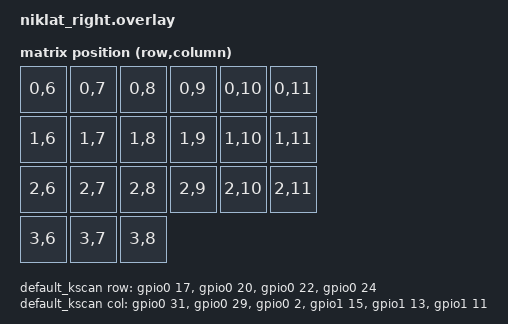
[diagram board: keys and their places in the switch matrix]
#include <dt-bindings/zmk/matrix_transform.h>
#include <zephyr/dt-bindings/gpio/gpio.h>

/ {
    chosen {
        zmk,kscan = &default_kscan;
        zmk,matrix_transform = &default_transform;
	zmk,display = &nice_view;
    };



    default_kscan: kscan {
        compatible = "zmk,kscan-gpio-matrix";
        label = "default_kscan";
        diode-direction = "col2row";

        row-gpios = <&gpio0 17 (GPIO_ACTIVE_HIGH | GPIO_PULL_DOWN)>,
                    <&gpio0 20 (GPIO_ACTIVE_HIGH | GPIO_PULL_DOWN)>,
                    <&gpio0 22 (GPIO_ACTIVE_HIGH | GPIO_PULL_DOWN)>,
                    <&gpio0 24 (GPIO_ACTIVE_HIGH | GPIO_PULL_DOWN)>;
    
        col-gpios = <&gpio0 31 GPIO_ACTIVE_HIGH>,
                    <&gpio0 29 GPIO_ACTIVE_HIGH>,
                    <&gpio0 2 GPIO_ACTIVE_HIGH>,
                    <&gpio1 15 GPIO_ACTIVE_HIGH>,
                    <&gpio1 13 GPIO_ACTIVE_HIGH>,
                    <&gpio1 11 GPIO_ACTIVE_HIGH>;
    };

    default_transform: matrix_transform {
        compatible = "zmk,matrix-transform";
        rows = <4>;
        columns = <6>;
	col-offset = <6>;

        map = <
            RC(0,6) RC(0,7) RC(0,8) RC(0,9) RC(0,10) RC(0,11)
            RC(1,6) RC(1,7) RC(1,8) RC(1,9) RC(1,10) RC(1,11)
            RC(2,6) RC(2,7) RC(2,8) RC(2,9) RC(2,10) RC(2,11)
            RC(3,6) RC(3,7) RC(3,8)
        >;
    };
};

&pinctrl {
	spi0_default: spi0_default {
    		group1 {
			psels = <NRF_PSEL(SPIM_SCK, 0, 0)>,
				<NRF_PSEL(SPIM_MOSI, 0, 11)>;
    		};
	};
	spi0_sleep: spi0_sleep {
    		group1 {
			psels = <NRF_PSEL(SPIM_SCK, 0, 0)>,
	    			<NRF_PSEL(SPIM_MOSI, 0, 11)>;
			low-power-enable;
    		};
	};
};

nice_view_spi: &spi0 {
	compatible = "nordic,nrf-spim";
        status = "okay";
        pinctrl-0 = <&spi0_default>;
        pinctrl-1 = <&spi0_sleep>;
        pinctrl-names = "default", "sleep";

        cs-gpios = <&gpio1 6 GPIO_ACTIVE_HIGH>;

        nice_view: ls0xx@0 {
            compatible = "sharp,ls0xx";
            spi-max-frequency = <1000000>;
            reg = <0>;
            width = <160>;
            height = <68>;
        };
};
